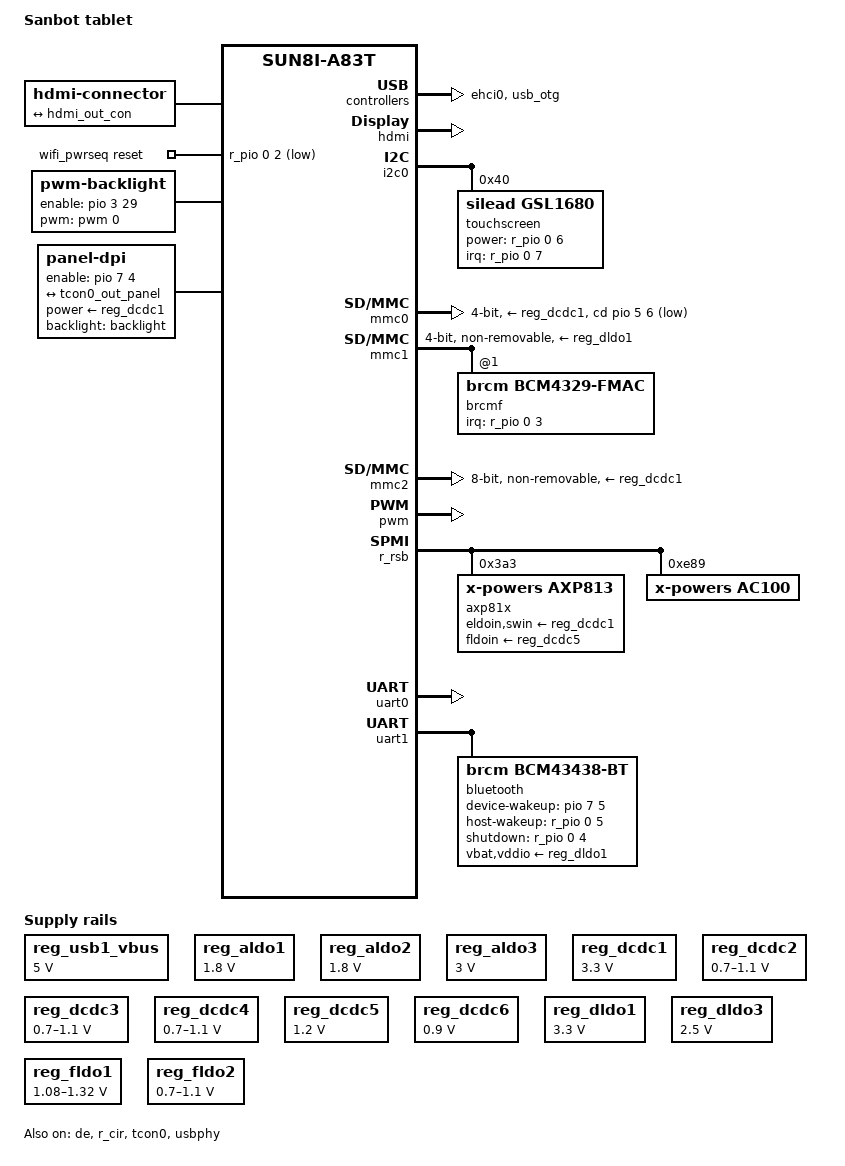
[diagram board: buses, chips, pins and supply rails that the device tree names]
// SPDX-License-Identifier: (GPL-2.0+ OR MIT)
/*
 * Sanbot tablet — Allwinner A83T
 * Based on sun8i-a83t-bananapi-m3.dts
 */

/dts-v1/;
#include "sun8i-a83t.dtsi"
#include <dt-bindings/gpio/gpio.h>

/ {
	model = "Sanbot tablet";
	compatible = "sanbot,sanbot-tablet", "allwinner,sun8i-a83t";

	aliases {
		serial0 = &uart0;
	};

	chosen {
		stdout-path = "serial0:115200n8";
	};

	connector {
		compatible = "hdmi-connector";
		type = "a";
		port {
			hdmi_con_in: endpoint {
				remote-endpoint = <&hdmi_out_con>;
			};
		};
	};

	/*
	 * usb1 VBUS — no GPIO on Sanbot (usbc1 has no usb_drv_vbus_gpio)
	 * BPi M3 used PD24 but that is lcdclk on Sanbot — must not drive it
	 */
	reg_usb1_vbus: reg-usb1-vbus {
		compatible = "regulator-fixed";
		regulator-name = "usb1-vbus";
		regulator-min-microvolt = <5000000>;
		regulator-max-microvolt = <5000000>;
		regulator-always-on;
	};

	wifi_pwrseq: wifi_pwrseq {
		compatible = "mmc-pwrseq-simple";
		clocks = <&ac100_rtc 1>;
		clock-names = "ext_clock";
		assigned-clocks = <&ac100_rtc 1>;
		assigned-clock-rates = <32768>;
		reset-gpios = <&r_pio 0 2 GPIO_ACTIVE_LOW>; /* PL2 wl_reg_on */
	};

	/* PWM backlight — lcd_bl_en=PD29, lcd_pwm_ch=0, 10kHz, inverted */
	backlight: backlight {
		compatible = "pwm-backlight";
		pwms = <&pwm 0 100000 1>;
		brightness-levels = <0 10 20 30 40 50 60 70 80 90 100>;
		default-brightness-level = <8>;
		enable-gpios = <&pio 3 29 GPIO_ACTIVE_HIGH>; /* PD29 lcd_bl_en */
	};

	/*
	 * Generic RGB panel via SSD2828 MIPI bridge
	 * Timing from lcd0_para (verified from script_keys)
	 */
	panel: panel {
		compatible = "panel-dpi";
		enable-gpios = <&pio 7 4 GPIO_ACTIVE_HIGH>; /* PH4 lcd_gpio_6 */
		backlight = <&backlight>;
		power-supply = <&reg_dcdc1>;  /* add this */
		bus-format = <0x100a>;  /* add this */
		bpc = <8>;                                   /* add this */
		port {
			panel_input: endpoint {
				remote-endpoint = <&tcon0_out_panel>;
			};
		};

		panel-timing {
			clock-frequency = <150000000>;
			hactive = <1920>;
			vactive = <1200>;
			hfront-porch = <28>;
			hback-porch = <80>;
			hsync-len = <16>;
			vfront-porch = <0>;
			vback-porch = <16>;
			vsync-len = <8>;
			hsync-active = <0>;
			vsync-active = <0>;
			de-active = <1>;
			pixelclk-active = <1>;
		};
	};
};

/* LCD parallel RGB pinctrl — PD pins for lcd0 function */
&pio {
	lcd_rgb_pins: lcd-rgb-pins {
		pins = "PD2",  "PD3",  "PD4",  "PD5",  "PD6",  "PD7",
		       "PD10", "PD11", "PD12", "PD13", "PD14", "PD15",
		       "PD18", "PD19", "PD20", "PD21", "PD22", "PD23",
		       "PD24", "PD25", "PD26", "PD27";
		function = "lcd0";
		drive-strength = <30>;
	};
};

&cpu0 {
	cpu-supply = <&reg_dcdc2>;
};

&cpu100 {
	cpu-supply = <&reg_dcdc3>;
};

&de {
	status = "okay";
};

&ehci0 {
	status = "okay";
};

&hdmi {
	status = "okay";
};

&hdmi_out {
	hdmi_out_con: endpoint {
		remote-endpoint = <&hdmi_con_in>;
	};
};

&i2c0 {
	status = "okay";

	/* gslX680_T13hd touchscreen — ctp_twi_id=0, addr=0x40 */
	touchscreen@40 {
		compatible = "silead,gsl1680";
		reg = <0x40>;
		interrupt-parent = <&r_pio>;
		interrupts = <0 7 IRQ_TYPE_EDGE_FALLING>; /* PL7 */
		power-gpios = <&r_pio 0 6 GPIO_ACTIVE_HIGH>; /* PL6 wakeup */
		touchscreen-size-x = <1920>;
		touchscreen-size-y = <1200>;
		touchscreen-swapped-x-y;
		silead,max-fingers = <10>;
	};
};

&i2c1 {
	status = "disabled"; /* gsensor_used=0 */
};

&mmc0 {
	pinctrl-names = "default";
	pinctrl-0 = <&mmc0_pins>;
	vmmc-supply = <&reg_dcdc1>;
	bus-width = <4>;
	cd-gpios = <&pio 5 6 GPIO_ACTIVE_LOW>; /* PF6 */
	no-1-8-v;
	status = "okay";
};

&mmc1 {
	vmmc-supply = <&reg_dldo1>;
	vqmmc-supply = <&reg_dldo1>;
	mmc-pwrseq = <&wifi_pwrseq>;
	bus-width = <4>;
	non-removable;
	status = "okay";

	brcmf: wifi@1 {
		reg = <1>;
		compatible = "brcm,bcm4329-fmac";
		interrupt-parent = <&r_pio>;
		interrupts = <0 3 IRQ_TYPE_LEVEL_LOW>; /* PL3 wl_host_wake */
		interrupt-names = "host-wake";
	};
};

&mmc2 {
	pinctrl-names = "default";
	pinctrl-0 = <&mmc2_8bit_emmc_pins>;
	vmmc-supply = <&reg_dcdc1>;
	vqmmc-supply = <&reg_dcdc1>;
	bus-width = <8>;
	non-removable;
	cap-mmc-hw-reset;
	status = "okay";
};

&pwm {
	pinctrl-names = "default";
	pinctrl-0 = <&pwm_pin>;
	status = "okay";
};

&r_cir {
	clock-frequency = <3000000>;
	status = "okay";
};

&r_rsb {
	status = "okay";

	axp81x: pmic@3a3 {
		compatible = "x-powers,axp813";
		reg = <0x3a3>;
		interrupt-parent = <&r_intc>;
		interrupts = <0 IRQ_TYPE_LEVEL_LOW>;
		eldoin-supply = <&reg_dcdc1>;
		fldoin-supply = <&reg_dcdc5>;
		swin-supply = <&reg_dcdc1>;
		x-powers,drive-vbus-en;
	};

	ac100: codec@e89 {
		compatible = "x-powers,ac100";
		reg = <0xe89>;

		ac100_codec: codec {
			compatible = "x-powers,ac100-codec";
			interrupt-parent = <&r_pio>;
			interrupts = <0 11 IRQ_TYPE_LEVEL_LOW>; /* PL11 */
			#clock-cells = <0>;
			clock-output-names = "4M_adda";
		};

		ac100_rtc: rtc {
			compatible = "x-powers,ac100-rtc";
			interrupt-parent = <&r_intc>;
			interrupts = <0 IRQ_TYPE_LEVEL_LOW>;
			clocks = <&ac100_codec>;
			#clock-cells = <1>;
			clock-output-names = "cko1_rtc",
					     "cko2_rtc",
					     "cko3_rtc";
		};
	};
};

#include "axp81x.dtsi"

&ac_power_supply {
	status = "okay";
};

&battery_power_supply {
	status = "okay";
};

&reg_aldo1 {
	regulator-always-on;
	regulator-min-microvolt = <1800000>;
	regulator-max-microvolt = <1800000>;
	regulator-name = "vcc-1v8";
};

&reg_aldo2 {
	regulator-always-on;
	regulator-min-microvolt = <1800000>;
	regulator-max-microvolt = <1800000>;
	regulator-name = "dram-pll";
};

&reg_aldo3 {
	regulator-always-on;
	regulator-min-microvolt = <3000000>;
	regulator-max-microvolt = <3000000>;
	regulator-name = "avcc";
};

&reg_dcdc1 {
	regulator-always-on;
	regulator-min-microvolt = <3300000>;
	regulator-max-microvolt = <3300000>;
	regulator-name = "vcc-3v3";
};

&reg_dcdc2 {
	regulator-always-on;
	regulator-min-microvolt = <700000>;
	regulator-max-microvolt = <1100000>;
	regulator-name = "vdd-cpua";
};

&reg_dcdc3 {
	regulator-always-on;
	regulator-min-microvolt = <700000>;
	regulator-max-microvolt = <1100000>;
	regulator-name = "vdd-cpub";
};

&reg_dcdc4 {
	regulator-min-microvolt = <700000>;
	regulator-max-microvolt = <1100000>;
	regulator-name = "vdd-gpu";
};

&reg_dcdc5 {
	regulator-always-on;
	regulator-min-microvolt = <1200000>;
	regulator-max-microvolt = <1200000>;
	regulator-name = "vcc-dram";
};

&reg_dcdc6 {
	regulator-always-on;
	regulator-min-microvolt = <900000>;
	regulator-max-microvolt = <900000>;
	regulator-name = "vdd-sys";
};

&reg_dldo1 {
	regulator-min-microvolt = <3300000>;
	regulator-max-microvolt = <3300000>;
	regulator-name = "vcc-wifi";
};

&reg_dldo3 {
	regulator-always-on;
	regulator-min-microvolt = <2500000>;
	regulator-max-microvolt = <2500000>;
	regulator-name = "vcc-pd";
};

&reg_drivevbus {
	regulator-name = "usb0-vbus";
	status = "okay";
};

&reg_fldo1 {
	regulator-min-microvolt = <1080000>;
	regulator-max-microvolt = <1320000>;
	regulator-name = "vdd12-hsic";
};

&reg_fldo2 {
	regulator-always-on;
	regulator-min-microvolt = <700000>;
	regulator-max-microvolt = <1100000>;
	regulator-name = "vdd-cpus";
};

&reg_rtc_ldo {
	regulator-name = "vcc-rtc";
};

&reg_sw {
	regulator-enable-ramp-delay = <100000>;
	regulator-name = "vcc-ephy";
};

/* TCON0: parallel RGB to SSD2828 bridge */
&tcon0 {
	pinctrl-names = "default";
	pinctrl-0 = <&lcd_rgb_pins>;
	status = "okay";
};

&tcon0_out {
	tcon0_out_panel: endpoint {
		remote-endpoint = <&panel_input>;
	};
};

&uart0 {
	pinctrl-names = "default";
	pinctrl-0 = <&uart0_pb_pins>;
	status = "okay";
};

&uart1 {
	pinctrl-names = "default";
	pinctrl-0 = <&uart1_pins>, <&uart1_rts_cts_pins>;
	uart-has-rtscts;
	status = "okay";

	bluetooth {
		compatible = "brcm,bcm43438-bt";
		clocks = <&ac100_rtc 1>;
		clock-names = "lpo";
		vbat-supply = <&reg_dldo1>;
		vddio-supply = <&reg_dldo1>;
		device-wakeup-gpios = <&pio 7 5 GPIO_ACTIVE_HIGH>;  /* PH5 bt_wake */
		host-wakeup-gpios = <&r_pio 0 5 GPIO_ACTIVE_HIGH>;  /* PL5 bt_host_wake */
		shutdown-gpios = <&r_pio 0 4 GPIO_ACTIVE_HIGH>;     /* PL4 bt_rst_n */
	};
};

&usb_otg {
	status = "okay";
};

&usbphy {
	usb1_vbus-supply = <&reg_usb1_vbus>;
	status = "okay";
};
